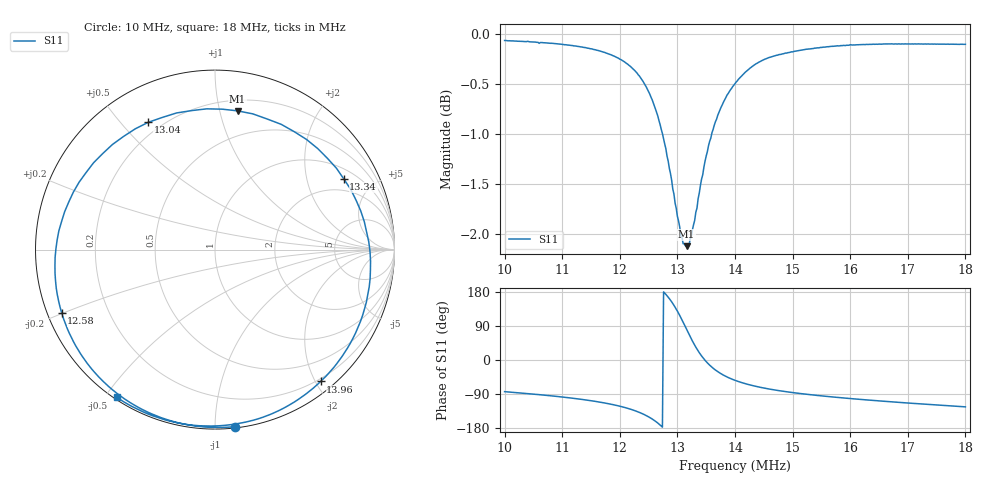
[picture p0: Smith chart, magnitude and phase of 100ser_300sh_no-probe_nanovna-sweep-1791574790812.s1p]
! NanoVNA Web complex sweep
! Processing: original sample grid, no browser smoothing
# Hz S RI R 50
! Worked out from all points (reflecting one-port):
!   401 points, 10 MHz to 18 MHz, reference 50 ohm
!   lowest |S11| = -2.1 dB at 13.16 MHz (marker M1), VSWR 8.22, Z = 14.2 + j56.7 ohm
!   phase of S11 starts at -83 deg and turns -400 deg over the sweep
!   S11 on the Smith chart (normalised r, x): 10 MHz: 0.01, -1.12; 12.58 MHz: 0.04, -0.20; 13.04 MHz: 0.15, +0.60; 13.34 MHz: 1.40, +3.35; 13.96 MHz: 0.16, -2.07; 18 MHz: 0.01, -0.54
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1e7  0.1125 -0.9866
1.1e7  -0.1314 -0.9798
1.158e7  -0.3247 -0.9271
1.2e7  -0.5137 -0.825
1.232e7  -0.6989 -0.65
1.246e7  -0.7869 -0.5161
1.258e7  -0.854 -0.3536
1.272e7  -0.8917 -0.0883
1.282e7  -0.8545 0.1575
1.292e7  -0.7174 0.4303
1.3e7  -0.5092 0.6307
1.304e7  -0.3714 0.7095
1.31e7  -0.1304 0.7745
1.316e7  0.1254 0.7731
1.326e7  0.5102 0.6135
1.334e7  0.7172 0.3941
1.34e7  0.8119 0.2157
1.346e7  0.8569 0.0424
1.354e7  0.8642 -0.1626
1.364e7  0.8221 -0.3673
1.378e7  0.7244 -0.5705
1.396e7  0.5887 -0.7348
1.4e7  0.56 -0.7607
1.44e7  0.3183 -0.914
1.5e7  0.069 -0.9776
1.6e7  -0.1989 -0.9679
1.7e7  -0.3942 -0.9071
1.8e7  -0.5481 -0.8228
